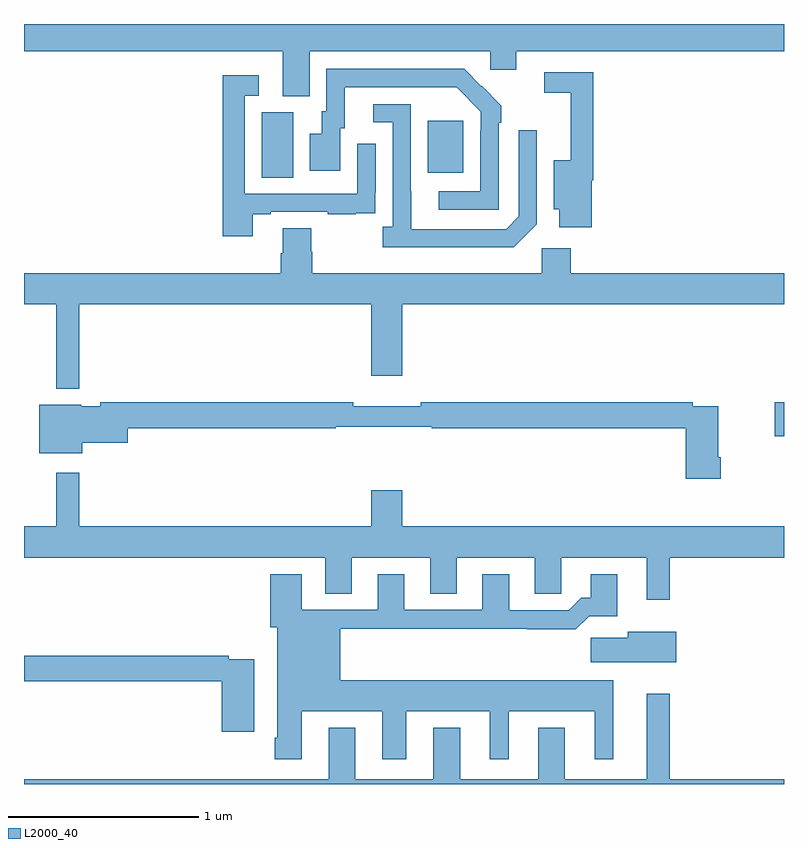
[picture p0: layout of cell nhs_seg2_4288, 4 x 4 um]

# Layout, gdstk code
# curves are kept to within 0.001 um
import gdstk
lib = gdstk.Library(unit=1e-6, precision=1e-09)
def R(c, l, rs):  # rectangles x0, y0, x1, y1
    for r in rs: c.add(gdstk.rectangle(r[:2], r[2:], *l))
def P(c, l, *ps):  # polygons
    for p in ps: c.add(gdstk.Polygon(p, *l))
L2000_40 = (2000, 40)

nhs_seg2_4288 = lib.new_cell('nhs_seg2_4288')
R(nhs_seg2_4288, L2000_40, [(346.95,625.63,347,625.808), (344.252,626.992,344.416,627.336), (345.125,627.017,345.313,627.292)])
P(nhs_seg2_4288, L2000_40, [(345.453,627.558),(345.592,627.558),(345.592,627.656),(347,627.656),(347,627.8),(343,627.8),(343,627.656),(344.363,627.656),(344.363,627.421),(344.503,627.421),(344.503,627.656),(345.453,627.656)],
  [(345.498,627.281),(345.513,627.281),(345.513,627.369),(345.316,627.564),(344.592,627.564),(344.592,627.342),(344.567,627.342),(344.567,627.223),(344.504,627.223),(344.504,627.027),(344.665,627.027),(344.665,627.252),(344.689,627.252),(344.689,627.468),(345.277,627.468),(345.405,627.339),(345.405,627.239),(345.402,627.239),(345.402,626.919),(345.183,626.919),(345.183,626.823),(345.498,626.823)],
  [(345.989,626.978),(345.995,626.978),(345.995,627.546),(345.738,627.546),(345.738,627.438),(345.878,627.438),(345.878,627.082),(345.788,627.082),(345.788,626.825),(345.818,626.825),(345.818,626.73),(345.989,626.73)],
  [(344.203,626.799),(344.299,626.799),(344.299,626.811),(344.599,626.811),(344.599,626.799),(344.747,626.799),(344.747,626.805),(344.849,626.805),(344.849,626.914),(344.85,626.914),(344.85,627.169),(344.754,627.169),(344.754,626.907),(344.163,626.907),(344.163,627.423),(344.236,627.423),(344.236,627.529),(344.047,627.529),(344.047,626.682),(344.203,626.682)],
  [(345.699,626.745),(345.699,627.241),(345.603,627.241),(345.603,626.787),(345.537,626.721),(345.037,626.721),(345.036,627.378),(344.838,627.378),(344.838,627.282),(344.94,627.282),(344.94,626.734),(344.889,626.734),(344.889,626.624),(345.578,626.624)],
  [(343.291,626.324),(344.828,626.324),(344.828,625.95),(344.992,625.95),(344.992,626.324),(347,626.324),(347,626.488),(345.878,626.488),(345.878,626.62),(345.726,626.62),(345.726,626.488),(344.516,626.488),(344.516,626.601),(344.511,626.601),(344.511,626.726),(344.363,626.726),(344.363,626.594),(344.351,626.594),(344.351,626.488),(343,626.488),(343,626.324),(343.169,626.324),(343.169,625.88),(343.291,625.88)],
  [(346.667,625.519),(346.654,625.519),(346.654,625.788),(346.52,625.788),(346.52,625.808),(345.088,625.808),(345.088,625.789),(344.732,625.789),(344.732,625.808),(343.402,625.808),(343.402,625.789),(343.302,625.789),(343.302,625.795),(343.079,625.795),(343.079,625.541),(343.306,625.541),(343.306,625.595),(343.546,625.595),(343.546,625.672),(344.642,625.672),(344.642,625.68),(345.147,625.68),(345.147,625.672),(346.484,625.672),(346.484,625.407),(346.667,625.407)],
  [(346.399,624.992),(347,624.992),(347,625.156),(344.992,625.156),(344.992,625.345),(344.828,625.345),(344.828,625.156),(343.291,625.156),(343.291,625.438),(343.169,625.438),(343.169,625.156),(343,625.156),(343,624.992),(344.585,624.992),(344.585,624.802),(344.725,624.802),(344.725,624.992),(345.137,624.992),(345.137,624.802),(345.277,624.802),(345.277,624.992),(345.689,624.992),(345.689,624.802),(345.828,624.802),(345.828,624.992),(346.277,624.992),(346.277,624.771),(346.399,624.771)],
  [(344.461,624.182),(344.885,624.182),(344.885,623.931),(345.013,623.931),(345.013,624.182),(345.452,624.182),(345.452,623.931),(345.55,623.931),(345.55,624.182),(346.004,624.182),(346.004,623.931),(346.102,623.931),(346.102,624.346),(344.665,624.346),(344.665,624.616),(345.649,624.616),(345.649,624.614),(345.905,624.614),(345.974,624.683),(346.123,624.683),(346.123,624.904),(345.983,624.904),(345.983,624.781),(345.934,624.781),(345.867,624.714),(345.553,624.714),(345.553,624.904),(345.413,624.904),(345.413,624.717),(345.001,624.717),(345.001,624.904),(344.861,624.904),(344.861,624.717),(344.461,624.717),(344.461,624.904),(344.297,624.904),(344.297,624.624),(344.333,624.624),(344.333,624.043),(344.321,624.043),(344.321,623.931),(344.461,623.931)],
  [(346.432,624.601),(346.178,624.601),(346.178,624.569),(345.984,624.569),(345.984,624.44),(346.432,624.44)],
  [(344.212,624.456),(344.078,624.456),(344.078,624.476),(343,624.476),(343,624.34),(344.042,624.34),(344.042,624.075),(344.212,624.075)],
  [(347,623.824),(346.399,623.824),(346.399,624.274),(346.277,624.274),(346.277,623.824),(345.847,623.824),(345.847,624.097),(345.707,624.097),(345.707,623.824),(345.295,623.824),(345.295,624.097),(345.155,624.097),(345.155,623.824),(344.743,623.824),(344.743,624.097),(344.603,624.097),(344.603,623.824),(343,623.824),(343,623.8),(347,623.8)])

lib.write_gds('nhs_seg2_4288.gds')
